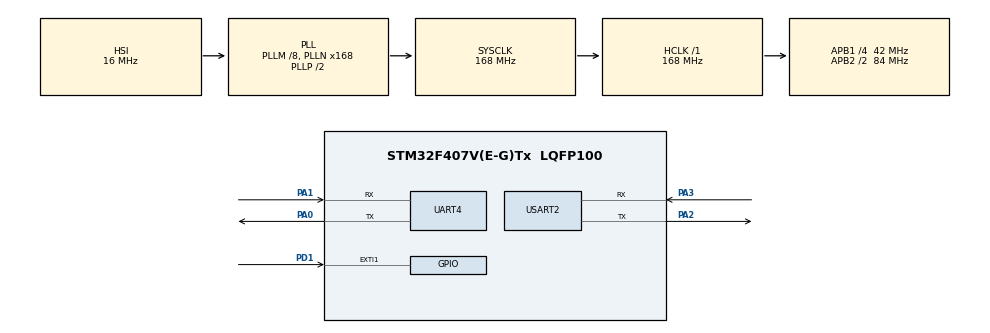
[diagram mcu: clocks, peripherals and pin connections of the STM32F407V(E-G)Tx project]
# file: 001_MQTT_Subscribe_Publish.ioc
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Dma.Request0=UART4_RX
Dma.UART4_RX.0.Direction=DMA_PERIPH_TO_MEMORY
Dma.UART4_RX.0.FIFOMode=DMA_FIFOMODE_DISABLE
Dma.UART4_RX.0.Instance=DMA1_Stream2
Dma.UART4_RX.0.MemDataAlignment=DMA_MDATAALIGN_BYTE
Dma.UART4_RX.0.MemInc=DMA_MINC_ENABLE
Dma.UART4_RX.0.Mode=DMA_CIRCULAR
Dma.UART4_RX.0.PeriphDataAlignment=DMA_PDATAALIGN_BYTE
Dma.UART4_RX.0.PeriphInc=DMA_PINC_DISABLE
Dma.UART4_RX.0.Priority=DMA_PRIORITY_LOW
Mcu.Family=STM32F4
Mcu.Name=STM32F407V(E-G)Tx
Mcu.Package=LQFP100
NVIC.DMA1_Stream2_IRQn=true\:0\:0\:false\:false\:true\:false\:true\:true
NVIC.EXTI1_IRQn=true\:0\:0\:false\:false\:true\:true\:true\:true
NVIC.PriorityGroup=NVIC_PRIORITYGROUP_4
NVIC.TIM6_DAC_IRQn=true\:0\:0\:false\:false\:true\:false\:true\:true
NVIC.TimeBase=TIM6_DAC_IRQn
NVIC.TimeBaseIP=TIM6
NVIC.UART4_IRQn=true\:0\:0\:false\:false\:true\:true\:true\:true
PA0-WKUP.Mode=Asynchronous
PA0-WKUP.Signal=UART4_TX
PA1.Mode=Asynchronous
PA1.Signal=UART4_RX
PA2.Mode=Asynchronous
PA2.Signal=USART2_TX
PA3.Mode=Asynchronous
PA3.Signal=USART2_RX
PD1.GPIO_ModeDefaultEXTI=GPIO_MODE_IT_RISING_FALLING
PD1.GPIO_PuPd=GPIO_PULLDOWN
PD1.Signal=GPXTI1
ProjectManager.HeapSize=0x200
ProjectManager.StackSize=0x400
ProjectManager.TargetToolchain=STM32CubeIDE
RCC.48MHZClocksFreq_Value=48000000
RCC.AHBFreq_Value=168000000
RCC.APB1CLKDivider=RCC_HCLK_DIV4
RCC.APB1Freq_Value=42000000
RCC.APB1TimFreq_Value=84000000
RCC.APB2CLKDivider=RCC_HCLK_DIV2
RCC.APB2Freq_Value=84000000
RCC.APB2TimFreq_Value=168000000
RCC.CortexFreq_Value=168000000
RCC.HCLKFreq_Value=168000000
RCC.HSE_VALUE=8000000
RCC.HSI_VALUE=16000000
RCC.LSE_VALUE=32768
RCC.PLLM=8
RCC.PLLN=168
RCC.PLLQ=7
RCC.SYSCLKFreq_VALUE=168000000
RCC.SYSCLKSource=RCC_SYSCLKSOURCE_PLLCLK
RCC.VCOOutputFreq_Value=336000000
UART4.VirtualMode=Asynchronous
USART2.VirtualMode=VM_ASYNC
VP_SYS_VS_tim6.Mode=TIM6
board=STM32F407G-DISC1

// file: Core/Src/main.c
/* USER CODE BEGIN Header */
/**
 ******************************************************************************
 * @file           : main.c
 * @brief          : Main program body
 ******************************************************************************
 * @attention
 *
 * Copyright (c) 2026 STMicroelectronics.
 * All rights reserved.
 *
 * This software is licensed under terms that can be found in the LICENSE file
 * in the root directory of this software component.
 * If no LICENSE file comes with this software, it is provided AS-IS.
 *
 ******************************************************************************
 */
/* USER CODE END Header */
#include "main.h"

/* USER CODE BEGIN Includes */
#include "esp32_at.h"
#include "application_config.h"
#include "mqtt_helper.h"
#include "FreeRTOS.h"
#include "task.h"
#include "queue.h"

/* USER CODE END Includes */

/* USER CODE BEGIN PTD */
typedef enum { SESSION_IDLE, SESSION_SITTING, SESSION_GRACE } session_state_t;

/* USER CODE END PTD */

/* USER CODE BEGIN PD */
#define HEARTBEAT_INTERVAL_MS (5 * 60 * 1000) // 5 mins
#define GRACE_PERIOD_MS (3 * 60 * 1000)       // 3 mins
#define MQTT_PAYLOAD_MAX_LEN 64
#define MS_TO_MIN(ms) ((ms) / 60000UL)
/* USER CODE END PD */

UART_HandleTypeDef huart4;
UART_HandleTypeDef huart2;
DMA_HandleTypeDef hdma_uart4_rx;

/* USER CODE BEGIN PV */
volatile uint8_t pir_motion_detected = 0;
uint32_t boot_epoch_s = 0;
uint32_t boot_tick_ms = 0;

QueueHandle_t mqtt_tx_queue;
QueueHandle_t mqtt_rx_queue;

/* USER CODE END PV */

void SystemClock_Config(void);
static void MX_GPIO_Init(void);
static void MX_DMA_Init(void);
static void MX_UART4_Init(void);
static void MX_USART2_UART_Init(void);

/* USER CODE BEGIN 0 */

/* PIR sitting session state machine - queues MQTT publishes to mqtt_tx_queue */
void mqtt_publish_task(void *parameters) {
	uint32_t now_s = 0;
	uint32_t hh = 0;
	uint32_t mm = 0;
	uint32_t ss = 0;

	session_state_t session_state = SESSION_IDLE;
	uint32_t session_start_ms = 0;
	uint32_t last_heartbeat_ms = 0;
	uint32_t grace_start_ms = 0;
	uint32_t current_time_ms = 0;
	uint32_t session_duration_mins = 0;

	mqtt_queue_item_t item = {
	    .operation = MQTT_OPERATION_PUBLISH,
	    .topic = MOTION_TOPIC,
	    .topic_length = strlen(MOTION_TOPIC),
	};

	while (1) {
		current_time_ms = xTaskGetTickCount() * portTICK_PERIOD_MS;
		now_s = (boot_epoch_s + (current_time_ms - boot_tick_ms) / 1000) % 86400;
		hh = now_s / 3600;
		mm = (now_s % 3600) / 60;
		ss = now_s % 60;

		switch (session_state) {
			case SESSION_IDLE:
				if (pir_motion_detected) {
					session_start_ms = current_time_ms;
					last_heartbeat_ms = current_time_ms; // every 5 mins
					size_t payload_len =
					    snprintf((char *)item.payload, sizeof(item.payload), "{\"at_desk\":true,\"duration_mins\": 0}");

					item.payload_length = payload_len;

					if (xQueueSend(mqtt_tx_queue, &item, portMAX_DELAY) == pdPASS) {
						LogInfo(("Queued MQTT publish: Topic='%s'", MOTION_TOPIC));
					} else {
						LogError(("Failed to queue MQTT publish: Topic='%s'", MOTION_TOPIC));
					}

					LogDebug(("PIR triggered - session started at %02lu:%02lu:%02lu", hh, mm, ss));
					session_state = SESSION_SITTING;
				}
				break;

			case SESSION_SITTING: // pir HIGH
				if (!pir_motion_detected) {
					grace_start_ms = current_time_ms;
					LogDebug(("Motion lost - entering grace period at %02lu:%02lu:%02lu", hh, mm, ss));
					session_state = SESSION_GRACE;
				} else {
					// if i am still sitting right now
					// check if enough time has passed for a heart beat (5 mins)
					// if so, publish a message with the current session duration
					if (current_time_ms - last_heartbeat_ms >= HEARTBEAT_INTERVAL_MS) {
						session_duration_mins = MS_TO_MIN(current_time_ms - session_start_ms);
						size_t payload_len = snprintf(
						    (char *)item.payload,
						    sizeof(item.payload),
						    "{\"at_desk\":true,\"duration_mins\": %lu}",
						    session_duration_mins
						);
						item.payload_length = payload_len;

						if (xQueueSend(mqtt_tx_queue, &item, portMAX_DELAY) == pdPASS) {
							LogInfo(("Queued MQTT publish: Topic='%s'", MOTION_TOPIC));
						} else {
							LogError(("Failed to queue MQTT publish: Topic='%s'", MOTION_TOPIC));
						}

						LogDebug(
						    ("Heartbeat publish - duration_mins: %lu at %02lu:%02lu:%02lu",
						     session_duration_mins,
						     hh,
						     mm,
						     ss)
						);

						last_heartbeat_ms = current_time_ms;
					}
				}
				break;

			case SESSION_GRACE: // grace timer running
				if (pir_motion_detected) {
					LogDebug(("Motion resumed in grace period at %02lu:%02lu:%02lu - back to SITTING", hh, mm, ss));
					session_state = SESSION_SITTING;
				} else {
					// check if 60s passed (task will be checked twice in this period)
					if (current_time_ms - grace_start_ms >= GRACE_PERIOD_MS) {
						session_duration_mins = MS_TO_MIN(current_time_ms - session_start_ms);
						size_t payload_len = snprintf(
						    (char *)item.payload,
						    sizeof(item.payload),
						    "{\"session_end\":true,\"total_duration_mins\": %lu}",
						    session_duration_mins
						);
						item.payload_length = payload_len;

						if (xQueueSend(mqtt_tx_queue, &item, portMAX_DELAY) == pdPASS) {
							LogInfo(("Queued MQTT publish: Topic='%s'", MOTION_TOPIC));
						} else {
							LogError(("Failed to queue MQTT publish: Topic='%s'", MOTION_TOPIC));
						}

						LogDebug(
						    ("Grace period expired at %02lu:%02lu:%02lu - session ended, total_mins: %lu",
						     hh,
						     mm,
						     ss,
						     session_duration_mins)
						);
						session_state = SESSION_IDLE;
					}
				}
				break;
		}
		vTaskDelay(pdMS_TO_TICKS(MQTT_PUBLISH_TIME_BETWEEN_MS));
	}
}

/* Logs incoming MQTT messages */
void mqtt_receive_task(void *parameters) {
	mqtt_queue_item_t item;

	while (1) {
		xQueueReceive(mqtt_rx_queue, &item, portMAX_DELAY);

		if (item.operation == MQTT_OPERATION_RECEIVE && item.topic_length > 0 && item.payload_length > 0) {
			LogInfo(("Topic: %.*s", (int)item.topic_length, item.topic));
			LogInfo(("Message: %.*s", (int)item.payload_length, item.payload));
		}
	}
}

/* Sole USART2 owner: drain the TX queue (send publishes) & poll for incoming MQTT RX data */
void at_cmd_dispatcher_task(void *parameters) {
	(void)parameters;

	mqtt_queue_item_t item, new_message = {0};
	mqtt_receive_t mqtt_data = {0};
	mqtt_status_t status = MQTT_ERROR;

	static char topic_buffer[MAX_MQTT_TOPIC_SIZE];
	static char payload_buffer[MAX_MQTT_PAYLOAD_SIZE];

	mqtt_data.p_payload = payload_buffer;
	mqtt_data.p_topic = topic_buffer;
	mqtt_data.topic_length = sizeof(topic_buffer);
	mqtt_data.payload_length = sizeof(payload_buffer);

	while(1) {

	// 1. De-queue MQTT TX queue
	if (xQueueReceive(mqtt_tx_queue, &item, 0) == pdPASS) {
		if (item.operation == MQTT_OPERATION_PUBLISH) {

			// 2. Send MQTT publish AT command using mqtt_publish()
			status = mqtt_publish(item.topic, item.topic_length, item.payload, item.payload_length);

			if (status == MQTT_SUCCESS) {
				LogInfo(
				    ("MQTT Publish successful: Topic='%.*s', Payload='%.*s'",
				     (int)item.topic_length,
				     item.topic,
				     (int)item.payload_length,
				     (char *)item.payload)
				);
			} else {
				LogError(("MQTT Publish failed: Topic='%.*s'", (int)item.topic_length, item.topic));
			}

		} else if (item.operation == MQTT_OPERATION_SUBSCRIBE) {
			// 2. Send MQTT subscribe AT command using mqtt_subscribe()
			status = mqtt_subscribe(item.topic, item.topic_length);
			if (status == MQTT_SUCCESS) {
				LogInfo(("MQTT Subscribe successful: Topic='%.*s'", (int)item.topic_length, item.topic));
			} else {
				LogError(("MQTT Subscribe failed: Topic='%.*s'", (int)item.topic_length, item.topic));
			}
		}
	}
}

	// 3. check for incoming MQTT data
	esp32_status_t rx_status = esp32_recv_mqtt_data(&mqtt_data);

	if (rx_status != ESP32_ERROR && mqtt_data.payload_length > 0) {
		new_message.operation = MQTT_OPERATION_RECEIVE;
		new_message.payload_length = mqtt_data.payload_length;
		new_message.topic_length = mqtt_data.topic_length;
		memcpy(new_message.payload, mqtt_data.p_payload, mqtt_data.payload_length);
		memcpy(new_message.topic, mqtt_data.p_topic, mqtt_data.topic_length);

		if (xQueueSend(mqtt_rx_queue, &new_message, 0) == pdPASS) {
			LogInfo(("Queued MQTT receive: Topic='%.*s'", (int)new_message.topic_length, new_message.topic));
		}
	}
}

/* USER CODE END 0 */

int main(void) {

	/* MCU Configuration--------------------------------------------------------*/

	/* Reset of all peripherals, Initializes the Flash interface and the Systick. */
	HAL_Init();

	/* Configure the system clock */
	SystemClock_Config();

	/* Initialize all configured peripherals */
	MX_GPIO_Init();
	MX_DMA_Init();
	MX_UART4_Init();
	MX_USART2_UART_Init();
	/* USER CODE BEGIN 2 */

	/* Initialize the ESP32 Wi-Fi module*/
	LogInfo(("Initializing Wi-Fi module..."));
	if (esp32_init() != ESP32_OK) {
		LogError(("Failed to initialize Wi-Fi module."));
		Error_Handler();
	}
	LogInfo(("Wi-Fi module initialized successfully!\n"));

	/* Connect to the Wi-Fi network*/
	LogInfo(("Joining Access Point: '%s' ...", WIFI_SSID));
	/* Keep attempting to connect to the specified Wi-Fi access point until
	 * successful */
	while (esp32_join_ap((uint8_t *)WIFI_SSID, (uint8_t *)WIFI_PASSWORD) != ESP32_OK) {
		LogInfo(("Retrying to join Access Point: %s", WIFI_SSID));
	}
	LogInfo(("Successfully joined Access Point: %s", WIFI_SSID));

	/* Configure SNTP for time synchronization */
	if (esp32_config_sntp(UTC_OFFSET) != ESP32_OK) {
		LogError(("Failed to configure SNTP."));
		Error_Handler();
	}
	LogInfo(("SNTP configured !"));

	/* Retrieve the current time from SNTP */
	sntp_time_t sntp_time;
	if (esp32_get_sntp_time(&sntp_time) != ESP32_OK) {
		LogError(("Failed to retrieve current time from SNTP."));
		Error_Handler();
	}

	boot_epoch_s = sntp_time.hour * 3600 + sntp_time.min * 60 + sntp_time.sec;
	boot_tick_ms = xTaskGetTickCount() * portTICK_PERIOD_MS;

	LogInfo(
	    ("SNTP time retrieved: %s, %02d %s %04d %02d:%02d:%02d",
	     sntp_time.day,
	     sntp_time.date,
	     sntp_time.month,
	     sntp_time.year,
	     sntp_time.hour,
	     sntp_time.min,
	     sntp_time.sec)
	);

	/* Configure the MQTT client for TLS */
	LogInfo(("Connecting to MQTT broker at %s:%d...", MQTT_BROKER, MQTT_PORT));
	if (mqtt_connect(CLIENT_ID, MQTT_BROKER, MQTT_PORT) != MQTT_SUCCESS) {
		LogError(("MQTT connection failed."));
		Error_Handler();
	}
	LogInfo(("Successfully connected to MQTT broker: %s", MQTT_BROKER));

	// loop back for subscribing to same topic it's publishing to
	LogInfo(("Subscribing to topic: %s", MOTION_TOPIC));
	if (mqtt_subscribe(MOTION_TOPIC, strlen(MOTION_TOPIC)) != MQTT_SUCCESS) {
		LogError(("Subscription to topic '%s' failed.", MOTION_TOPIC));
		Error_Handler();
	}
	LogInfo(("Successfully Subscribed to topic: %s", MOTION_TOPIC));

	mqtt_tx_queue = xQueueCreate(5, sizeof(mqtt_queue_item_t));
	mqtt_rx_queue = xQueueCreate(5, sizeof(mqtt_queue_item_t));

	if ((mqtt_tx_queue == NULL) || (mqtt_rx_queue == NULL)) {
		LogError(("Queue creation failed."));
		Error_Handler();
	} else {
		LogInfo(("MQTT RX and TX queues successfully created."));
	}

	BaseType_t status;
	status = xTaskCreate(mqtt_publish_task, "Publish sensor data", 2048, NULL, 2, NULL);
	configASSERT(status == pdPASS);

	status = xTaskCreate(mqtt_receive_task, "Receive sensor data", 2048, NULL, 2, NULL);
	configASSERT(status == pdPASS);

	status = xTaskCreate(at_cmd_dispatcher_task, "MQTT Send and Receive", 2048, NULL, 1, NULL);
	configASSERT(status == pdPASS);

	vTaskStartScheduler();
	/* USER CODE END 2 */

	/* Infinite loop */
	while (1) {

	}
}

void SystemClock_Config(void) {
	RCC_OscInitTypeDef RCC_OscInitStruct = {0};
	RCC_ClkInitTypeDef RCC_ClkInitStruct = {0};

	/** Configure the main internal regulator output voltage
	 */
	__HAL_RCC_PWR_CLK_ENABLE();
	__HAL_PWR_VOLTAGESCALING_CONFIG(PWR_REGULATOR_VOLTAGE_SCALE1);

	/** Initializes the RCC Oscillators according to the specified parameters
	 * in the RCC_OscInitTypeDef structure.
	 */
	RCC_OscInitStruct.OscillatorType = RCC_OSCILLATORTYPE_HSI;
	RCC_OscInitStruct.HSIState = RCC_HSI_ON;
	RCC_OscInitStruct.HSICalibrationValue = RCC_HSICALIBRATION_DEFAULT;
	RCC_OscInitStruct.PLL.PLLState = RCC_PLL_ON;
	RCC_OscInitStruct.PLL.PLLSource = RCC_PLLSOURCE_HSI;
	RCC_OscInitStruct.PLL.PLLM = 8;
	RCC_OscInitStruct.PLL.PLLN = 168;
	RCC_OscInitStruct.PLL.PLLP = RCC_PLLP_DIV2;
	RCC_OscInitStruct.PLL.PLLQ = 7;
	if (HAL_RCC_OscConfig(&RCC_OscInitStruct) != HAL_OK) {
		Error_Handler();
	}

	/** Initializes the CPU, AHB and APB buses clocks
	 */
	RCC_ClkInitStruct.ClockType = RCC_CLOCKTYPE_HCLK | RCC_CLOCKTYPE_SYSCLK | RCC_CLOCKTYPE_PCLK1 | RCC_CLOCKTYPE_PCLK2;
	RCC_ClkInitStruct.SYSCLKSource = RCC_SYSCLKSOURCE_PLLCLK;
	RCC_ClkInitStruct.AHBCLKDivider = RCC_SYSCLK_DIV1;
	RCC_ClkInitStruct.APB1CLKDivider = RCC_HCLK_DIV4;
	RCC_ClkInitStruct.APB2CLKDivider = RCC_HCLK_DIV2;

	if (HAL_RCC_ClockConfig(&RCC_ClkInitStruct, FLASH_LATENCY_5) != HAL_OK) {
		Error_Handler();
	}
}

static void MX_UART4_Init(void) {

	huart4.Instance = UART4;
	huart4.Init.BaudRate = 115200;
	huart4.Init.WordLength = UART_WORDLENGTH_8B;
	huart4.Init.StopBits = UART_STOPBITS_1;
	huart4.Init.Parity = UART_PARITY_NONE;
	huart4.Init.Mode = UART_MODE_TX_RX;
	huart4.Init.HwFlowCtl = UART_HWCONTROL_NONE;
	huart4.Init.OverSampling = UART_OVERSAMPLING_16;
	if (HAL_UART_Init(&huart4) != HAL_OK) {
		Error_Handler();
	}
}

static void MX_USART2_UART_Init(void) {

	huart2.Instance = USART2;
	huart2.Init.BaudRate = 115200;
	huart2.Init.WordLength = UART_WORDLENGTH_8B;
	huart2.Init.StopBits = UART_STOPBITS_1;
	huart2.Init.Parity = UART_PARITY_NONE;
	huart2.Init.Mode = UART_MODE_TX_RX;
	huart2.Init.HwFlowCtl = UART_HWCONTROL_NONE;
	huart2.Init.OverSampling = UART_OVERSAMPLING_16;
	if (HAL_UART_Init(&huart2) != HAL_OK) {
		Error_Handler();
	}
}

static void MX_DMA_Init(void) {

	/* DMA controller clock enable */
	__HAL_RCC_DMA1_CLK_ENABLE();

	/* DMA interrupt init */
	/* DMA1_Stream2_IRQn interrupt configuration */
	HAL_NVIC_SetPriority(DMA1_Stream2_IRQn, 0, 0);
	HAL_NVIC_EnableIRQ(DMA1_Stream2_IRQn);
}

static void MX_GPIO_Init(void) {
	GPIO_InitTypeDef GPIO_InitStruct = {0};

	/* GPIO Ports Clock Enable */
	__HAL_RCC_GPIOA_CLK_ENABLE();
	__HAL_RCC_GPIOD_CLK_ENABLE();

	/*Configure GPIO pin : PD1 */
	GPIO_InitStruct.Pin = GPIO_PIN_1;
	GPIO_InitStruct.Mode = GPIO_MODE_IT_RISING_FALLING;
	GPIO_InitStruct.Pull = GPIO_PULLDOWN;
	HAL_GPIO_Init(GPIOD, &GPIO_InitStruct);

	/* EXTI interrupt init*/
	HAL_NVIC_SetPriority(EXTI1_IRQn, 0, 0);
	HAL_NVIC_EnableIRQ(EXTI1_IRQn);

}

/* USER CODE BEGIN 4 */
void HAL_GPIO_EXTI_Callback(uint16_t GPIO_Pin) {
	if (GPIO_Pin == GPIO_PIN_1) {
		pir_motion_detected = HAL_GPIO_ReadPin(GPIOD, GPIO_PIN_1);
	}
}
/* USER CODE END 4 */

void HAL_TIM_PeriodElapsedCallback(TIM_HandleTypeDef *htim) {
	if (htim->Instance == TIM6) {
		HAL_IncTick();
	}
}

void Error_Handler(void) {
	__disable_irq();
	while (1) {
	}
}
